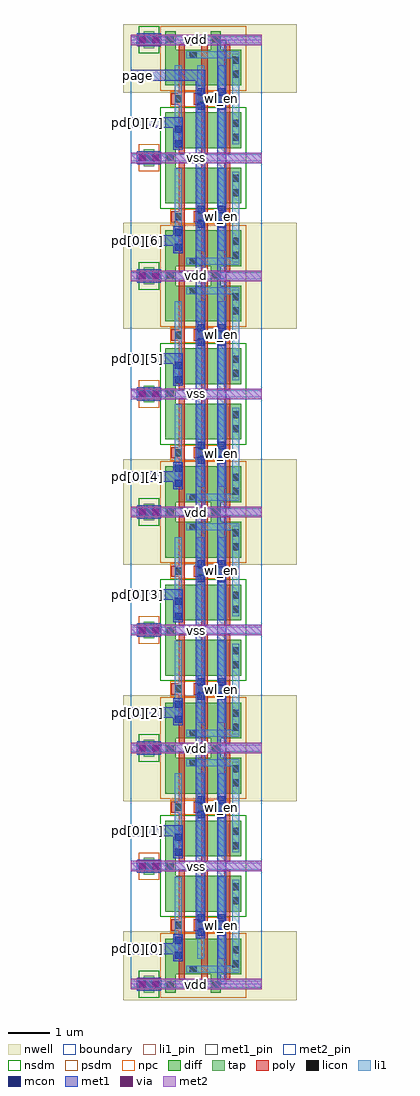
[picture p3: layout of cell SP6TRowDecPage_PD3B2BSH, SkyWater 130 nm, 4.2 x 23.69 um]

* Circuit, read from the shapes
.subckt SP6TRowDecPage_PD3B2BSH page pd[0][0] pd[0][1] pd[0][2] pd[0][3] pd[0][4] pd[0][5] pd[0][6] pd[0][7] vdd vss wl_en wl_n[0] wl_n[1] wl_n[2] wl_n[3] wl_n[4] wl_n[5] wl_n[6] wl_n[7]
XM1 n1 pd[0][0] vss vss sky130_fd_pr__nfet_01v8 w=0.87 l=0.15
XM2 n2 pd[0][1] vss vss sky130_fd_pr__nfet_01v8 w=0.87 l=0.15
XM3 n3 pd[0][2] vss vss sky130_fd_pr__nfet_01v8 w=0.87 l=0.15
XM4 n4 pd[0][3] vss vss sky130_fd_pr__nfet_01v8 w=0.87 l=0.15
XM5 n5 pd[0][4] vss vss sky130_fd_pr__nfet_01v8 w=0.87 l=0.15
XM6 n6 pd[0][5] vss vss sky130_fd_pr__nfet_01v8 w=0.87 l=0.15
XM7 n7 pd[0][6] vss vss sky130_fd_pr__nfet_01v8 w=0.87 l=0.15
XM8 n8 pd[0][7] vss vss sky130_fd_pr__nfet_01v8 w=0.87 l=0.15
XM9 n9 page n1 vss sky130_fd_pr__nfet_01v8 w=0.87 l=0.15
XM10 n10 page n2 vss sky130_fd_pr__nfet_01v8 w=0.87 l=0.15
XM11 n11 page n3 vss sky130_fd_pr__nfet_01v8 w=0.87 l=0.15
XM12 n12 page n4 vss sky130_fd_pr__nfet_01v8 w=0.87 l=0.15
XM13 n13 page n5 vss sky130_fd_pr__nfet_01v8 w=0.87 l=0.15
XM14 n14 page n6 vss sky130_fd_pr__nfet_01v8 w=0.87 l=0.15
XM15 n15 page n7 vss sky130_fd_pr__nfet_01v8 w=0.87 l=0.15
XM16 n16 page n8 vss sky130_fd_pr__nfet_01v8 w=0.87 l=0.15
XM17 wl_n[0] wl_en n9 vss sky130_fd_pr__nfet_01v8 w=0.87 l=0.15
XM18 wl_n[1] wl_en n10 vss sky130_fd_pr__nfet_01v8 w=0.87 l=0.15
XM19 wl_n[2] wl_en n11 vss sky130_fd_pr__nfet_01v8 w=0.87 l=0.15
XM20 wl_n[3] wl_en n12 vss sky130_fd_pr__nfet_01v8 w=0.87 l=0.15
XM21 wl_n[4] wl_en n13 vss sky130_fd_pr__nfet_01v8 w=0.87 l=0.15
XM22 wl_n[5] wl_en n14 vss sky130_fd_pr__nfet_01v8 w=0.87 l=0.15
XM23 wl_n[6] wl_en n15 vss sky130_fd_pr__nfet_01v8 w=0.87 l=0.15
XM24 wl_n[7] wl_en n16 vss sky130_fd_pr__nfet_01v8 w=0.87 l=0.15
XM25 wl_n[0] pd[0][0] vdd vdd sky130_fd_pr__pfet_01v8 w=0.87 l=0.15
XM26 wl_n[1] pd[0][1] vdd vdd sky130_fd_pr__pfet_01v8 w=0.87 l=0.15
XM27 wl_n[2] pd[0][2] vdd vdd sky130_fd_pr__pfet_01v8 w=0.87 l=0.15
XM28 wl_n[3] pd[0][3] vdd vdd sky130_fd_pr__pfet_01v8 w=0.87 l=0.15
XM29 wl_n[4] pd[0][4] vdd vdd sky130_fd_pr__pfet_01v8 w=0.87 l=0.15
XM30 wl_n[5] pd[0][5] vdd vdd sky130_fd_pr__pfet_01v8 w=0.87 l=0.15
XM31 wl_n[6] pd[0][6] vdd vdd sky130_fd_pr__pfet_01v8 w=0.87 l=0.15
XM32 wl_n[7] pd[0][7] vdd vdd sky130_fd_pr__pfet_01v8 w=0.87 l=0.15
XM33 vdd page wl_n[0] vdd sky130_fd_pr__pfet_01v8 w=0.87 l=0.15
XM34 vdd page wl_n[1] vdd sky130_fd_pr__pfet_01v8 w=0.87 l=0.15
XM35 vdd page wl_n[2] vdd sky130_fd_pr__pfet_01v8 w=0.87 l=0.15
XM36 vdd page wl_n[3] vdd sky130_fd_pr__pfet_01v8 w=0.87 l=0.15
XM37 vdd page wl_n[4] vdd sky130_fd_pr__pfet_01v8 w=0.87 l=0.15
XM38 vdd page wl_n[5] vdd sky130_fd_pr__pfet_01v8 w=0.87 l=0.15
XM39 vdd page wl_n[6] vdd sky130_fd_pr__pfet_01v8 w=0.87 l=0.15
XM40 vdd page wl_n[7] vdd sky130_fd_pr__pfet_01v8 w=0.87 l=0.15
XM41 wl_n[0] wl_en vdd vdd sky130_fd_pr__pfet_01v8 w=0.87 l=0.15
XM42 wl_n[1] wl_en vdd vdd sky130_fd_pr__pfet_01v8 w=0.87 l=0.15
XM43 wl_n[2] wl_en vdd vdd sky130_fd_pr__pfet_01v8 w=0.87 l=0.15
XM44 wl_n[3] wl_en vdd vdd sky130_fd_pr__pfet_01v8 w=0.87 l=0.15
XM45 wl_n[4] wl_en vdd vdd sky130_fd_pr__pfet_01v8 w=0.87 l=0.15
XM46 wl_n[5] wl_en vdd vdd sky130_fd_pr__pfet_01v8 w=0.87 l=0.15
XM47 wl_n[6] wl_en vdd vdd sky130_fd_pr__pfet_01v8 w=0.87 l=0.15
XM48 wl_n[7] wl_en vdd vdd sky130_fd_pr__pfet_01v8 w=0.87 l=0.15
.ends

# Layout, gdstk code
import gdstk
lib = gdstk.Library(unit=1e-6, precision=1e-09)
def R(c, l, rs):  # rectangles x0, y0, x1, y1
    for r in rs: c.add(gdstk.rectangle(r[:2], r[2:], *l))
def A(c, l, x, y, w, h, nx, ny, dx, dy):  # array of equal rectangles
    R(c, l, [(x+i*dx, y+j*dy, x+i*dx+w, y+j*dy+h) for i in range(nx) for j in range(ny)])
def P(c, l, *ps):  # polygons
    for p in ps: c.add(gdstk.Polygon(p, *l))
nwell = (64, 20)
diff = (65, 20)
tap = (65, 44)
poly = (66, 20)
licon = (66, 44)
li1_pin = (67, 16)
li1 = (67, 20)
mcon = (67, 44)
met1_pin = (68, 16)
met1 = (68, 20)
via = (68, 44)
met2_pin = (69, 16)
met2 = (69, 20)
nsdm = (93, 44)
psdm = (94, 20)
npc = (95, 20)
boundary = (235, 4)

sp6trowdecodernand3 = lib.new_cell('SP6TRowDecoderNand3')
R(sp6trowdecodernand3, nwell, [(-0.18,1.58,4.02,3.25)])
P(sp6trowdecodernand3, diff, [(0.835,1.76),(0.835,3.07),(1.085,3.07),(1.085,2.63),(1.935,2.63),(1.935,3.07),(2.185,3.07),(2.185,2.63),(2.675,2.63),(2.675,1.76)],
  [(0.835,-0.205),(0.835,1.105),(2.675,1.105),(2.675,0.235),(1.085,0.235),(1.085,-0.205)])
R(sp6trowdecodernand3, tap, [(0.315,-0.205,0.565,0.205), (0.315,2.66,0.565,3.07)])
P(sp6trowdecodernand3, poly, [(2.26,0.105),(2.26,1.265),(2.07,1.265),(2.07,1.595),(2.26,1.595),(2.26,2.76),(2.41,2.76),(2.41,0.105)],
  [(1.16,0.105),(1.16,1.295),(0.98,1.295),(0.98,1.565),(1.16,1.565),(1.16,2.76),(1.31,2.76),(1.31,0.105)],
  [(1.71,0.105),(1.71,1.295),(1.53,1.295),(1.53,1.565),(1.71,1.565),(1.71,2.76),(1.86,2.76),(1.86,0.105)])
R(sp6trowdecodernand3, licon, [(0.355,-0.085,0.525,0.085), (0.875,-0.085,1.045,0.085), (2.465,0.415,2.635,0.585), (2.465,0.755,2.635,0.925), (1.06,1.345,1.23,1.515), (1.61,1.345,1.78,1.515), (2.12,1.345,2.29,1.515), (2.465,1.94,2.635,2.11), (2.465,2.28,2.635,2.45), (1.425,2.42,1.595,2.59), (0.355,2.78,0.525,2.95), (0.875,2.78,1.045,2.95), (1.975,2.78,2.145,2.95)])
R(sp6trowdecodernand3, li1_pin, [(1.06,0.255,1.23,2.25), (2.465,0.335,2.635,2.53)])
R(sp6trowdecodernand3, li1, [(0,-0.085,3.18,0.085), (1.06,0.255,1.23,2.25), (1.61,0.255,1.78,2.25), (2.12,0.255,2.29,2.25), (0,2.78,3.18,2.95)])
P(sp6trowdecodernand3, li1, [(2.465,0.335),(2.465,2.42),(1.345,2.42),(1.345,2.59),(2.635,2.59),(2.635,0.335)])
R(sp6trowdecodernand3, mcon, [(0.175,-0.085,0.345,0.085), (0.535,-0.085,0.705,0.085), (1.61,1.165,1.78,1.335), (2.12,1.165,2.29,1.335), (1.61,1.525,1.78,1.695), (2.12,1.525,2.29,1.695), (0.175,2.78,0.345,2.95), (0.535,2.78,0.705,2.95)])
R(sp6trowdecodernand3, met1_pin, [(2.09,0,2.32,2.865), (1.58,1.105,1.81,1.755)])
R(sp6trowdecodernand3, met1, [(2.09,0,2.32,2.865), (1.58,1.105,1.81,1.755)])
P(sp6trowdecodernand3, met1, [(0.15,-0.16),(0.15,-0.145),(0.145,-0.145),(0.145,0.145),(0.15,0.145),(0.15,0.16),(0.73,0.16),(0.73,0.145),(0.735,0.145),(0.735,-0.145),(0.73,-0.145),(0.73,-0.16)],
  [(0.15,2.705),(0.15,2.72),(0.145,2.72),(0.145,3.01),(0.15,3.01),(0.15,3.025),(0.73,3.025),(0.73,3.01),(0.735,3.01),(0.735,2.72),(0.73,2.72),(0.73,2.705)])
R(sp6trowdecodernand3, via, [(0.205,-0.075,0.355,0.075), (0.525,-0.075,0.675,0.075), (0.205,2.79,0.355,2.94), (0.525,2.79,0.675,2.94)])
R(sp6trowdecodernand3, met2_pin, [(0,-0.13,3.18,0.13), (0,2.735,3.18,2.995)])
R(sp6trowdecodernand3, met2, [(0,-0.13,3.18,0.13), (0,2.735,3.18,2.995)])
R(sp6trowdecodernand3, nsdm, [(0.71,-0.33,2.8,1.23), (0.19,2.535,0.69,3.195)])
R(sp6trowdecodernand3, psdm, [(0.19,-0.33,0.69,0.33), (0.71,1.635,2.8,3.195)])
R(sp6trowdecodernand3, npc, [(0.96,1.245,2.39,1.615)])
R(sp6trowdecodernand3, boundary, [(0,0,3.18,2.865)])
sp6trowdecodernand3.add(gdstk.Label('vdd', (1.59,2.865), layer=69, texttype=16))
sp6trowdecodernand3.add(gdstk.Label('vss', (1.59,0), layer=69, texttype=16))
sp6trowdecodernand3.add(gdstk.Label('wl_en', (2.205,1.432), layer=68, texttype=16))
sp6trowdecodernand3.add(gdstk.Label('page', (1.695,1.43), layer=68, texttype=16))
sp6trowdecodernand3.add(gdstk.Label('wl_n', (2.55,1.432), layer=67, texttype=16))
sp6trowdecodernand3.add(gdstk.Label('pd[0]', (1.145,1.253), layer=67, texttype=16))

sp6trowdecpage_pd3b2bsh = lib.new_cell('SP6TRowDecPage_PD3B2BSH')
A(sp6trowdecpage_pd3b2bsh, li1_pin, 2.465, 0.335, 0.17, 2.195, 1, 8, 0, 2.865)
A(sp6trowdecpage_pd3b2bsh, li1, 2.465, 0.335, 0.17, 2.195, 1, 8, 0, 2.865)
R(sp6trowdecpage_pd3b2bsh, li1, [(1.06,0.615,1.23,1.145), (1.06,3.12,1.23,3.65), (1.06,6.345,1.23,6.875), (1.06,8.85,1.23,9.38), (1.06,12.075,1.23,12.605), (1.06,14.58,1.23,15.11), (1.06,17.805,1.23,18.335), (1.06,20.31,1.23,20.84)])
R(sp6trowdecpage_pd3b2bsh, mcon, [(1.06,0.615,1.23,0.785), (1.06,0.975,1.23,1.145), (1.06,3.12,1.23,3.29), (1.06,3.48,1.23,3.65), (1.06,6.345,1.23,6.515), (1.06,6.705,1.23,6.875), (1.06,8.85,1.23,9.02), (1.06,9.21,1.23,9.38), (1.06,12.075,1.23,12.245), (1.06,12.435,1.23,12.605), (1.06,14.58,1.23,14.75), (1.06,14.94,1.23,15.11), (1.06,17.805,1.23,17.975), (1.06,18.165,1.23,18.335), (1.06,20.31,1.23,20.48), (1.06,20.67,1.23,20.84)])
A(sp6trowdecpage_pd3b2bsh, met1_pin, 0, 0.73, 0.32, 0.26, 1, 8, 0, 2.865)
R(sp6trowdecpage_pd3b2bsh, met1_pin, [(2.09,0,2.32,22.92), (0,21.93,0.32,22.19)])
R(sp6trowdecpage_pd3b2bsh, met1, [(2.09,0,2.32,22.92)])
P(sp6trowdecpage_pd3b2bsh, met1, [(1.58,1.435),(1.58,21.93),(0,21.93),(0,22.19),(1.81,22.19),(1.81,1.435)],
  [(1.03,3.06),(1.03,3.595),(0,3.595),(0,3.855),(1.26,3.855),(1.26,3.06)],
  [(1.03,8.79),(1.03,9.325),(0,9.325),(0,9.585),(1.26,9.585),(1.26,8.79)],
  [(1.03,14.52),(1.03,15.055),(0,15.055),(0,15.315),(1.26,15.315),(1.26,14.52)],
  [(1.03,20.25),(1.03,20.785),(0,20.785),(0,21.045),(1.26,21.045),(1.26,20.25)],
  [(1.03,0.555),(1.03,0.73),(0,0.73),(0,0.99),(1.03,0.99),(1.03,1.205),(1.26,1.205),(1.26,0.555)],
  [(1.03,6.285),(1.03,6.46),(0,6.46),(0,6.72),(1.03,6.72),(1.03,6.935),(1.26,6.935),(1.26,6.285)],
  [(1.03,12.015),(1.03,12.19),(0,12.19),(0,12.45),(1.03,12.45),(1.03,12.665),(1.26,12.665),(1.26,12.015)],
  [(1.03,17.745),(1.03,17.92),(0,17.92),(0,18.18),(1.03,18.18),(1.03,18.395),(1.26,18.395),(1.26,17.745)])
A(sp6trowdecpage_pd3b2bsh, met2_pin, 0, -0.13, 3.18, 0.26, 1, 9, 0, 2.865)
A(sp6trowdecpage_pd3b2bsh, met2, 0, -0.13, 3.18, 0.26, 1, 9, 0, 2.865)
R(sp6trowdecpage_pd3b2bsh, boundary, [(0,0,3.18,22.92)])
sp6trowdecpage_pd3b2bsh.add(gdstk.Reference(sp6trowdecodernand3, (0,2.865)))
sp6trowdecpage_pd3b2bsh.add(gdstk.Reference(sp6trowdecodernand3, (0,8.595)))
sp6trowdecpage_pd3b2bsh.add(gdstk.Reference(sp6trowdecodernand3, (0,14.325)))
sp6trowdecpage_pd3b2bsh.add(gdstk.Reference(sp6trowdecodernand3, (0,20.055)))
sp6trowdecpage_pd3b2bsh.add(gdstk.Reference(sp6trowdecodernand3, (0,2.865), x_reflection=True))
sp6trowdecpage_pd3b2bsh.add(gdstk.Reference(sp6trowdecodernand3, (0,8.595), x_reflection=True))
sp6trowdecpage_pd3b2bsh.add(gdstk.Reference(sp6trowdecodernand3, (0,14.325), x_reflection=True))
sp6trowdecpage_pd3b2bsh.add(gdstk.Reference(sp6trowdecodernand3, (0,20.055), x_reflection=True))
sp6trowdecpage_pd3b2bsh.add(gdstk.Label('vss', (1.59,2.865), layer=69, texttype=16))
sp6trowdecpage_pd3b2bsh.add(gdstk.Label('vss', (1.59,8.595), layer=69, texttype=16))
sp6trowdecpage_pd3b2bsh.add(gdstk.Label('vss', (1.59,14.325), layer=69, texttype=16))
sp6trowdecpage_pd3b2bsh.add(gdstk.Label('vss', (1.59,20.055), layer=69, texttype=16))
sp6trowdecpage_pd3b2bsh.add(gdstk.Label('vdd', (1.59,0), layer=69, texttype=16))
sp6trowdecpage_pd3b2bsh.add(gdstk.Label('vdd', (1.59,5.73), layer=69, texttype=16))
sp6trowdecpage_pd3b2bsh.add(gdstk.Label('vdd', (1.59,11.46), layer=69, texttype=16))
sp6trowdecpage_pd3b2bsh.add(gdstk.Label('vdd', (1.59,17.19), layer=69, texttype=16))
sp6trowdecpage_pd3b2bsh.add(gdstk.Label('vdd', (1.59,22.92), layer=69, texttype=16))
sp6trowdecpage_pd3b2bsh.add(gdstk.Label('pd[0][6]', (0.16,18.05), layer=68, texttype=16))
sp6trowdecpage_pd3b2bsh.add(gdstk.Label('pd[0][5]', (0.16,15.185), layer=68, texttype=16))
sp6trowdecpage_pd3b2bsh.add(gdstk.Label('pd[0][4]', (0.16,12.32), layer=68, texttype=16))
sp6trowdecpage_pd3b2bsh.add(gdstk.Label('page', (0.16,22.06), layer=68, texttype=16))
sp6trowdecpage_pd3b2bsh.add(gdstk.Label('pd[0][3]', (0.16,9.455), layer=68, texttype=16))
sp6trowdecpage_pd3b2bsh.add(gdstk.Label('pd[0][7]', (0.16,20.915), layer=68, texttype=16))
sp6trowdecpage_pd3b2bsh.add(gdstk.Label('pd[0][2]', (0.16,6.59), layer=68, texttype=16))
sp6trowdecpage_pd3b2bsh.add(gdstk.Label('wl_en', (2.205,1.432), layer=68, texttype=16))
sp6trowdecpage_pd3b2bsh.add(gdstk.Label('wl_en', (2.205,4.297), layer=68, texttype=16))
sp6trowdecpage_pd3b2bsh.add(gdstk.Label('wl_en', (2.205,7.162), layer=68, texttype=16))
sp6trowdecpage_pd3b2bsh.add(gdstk.Label('wl_en', (2.205,10.028), layer=68, texttype=16))
sp6trowdecpage_pd3b2bsh.add(gdstk.Label('wl_en', (2.205,12.892), layer=68, texttype=16))
sp6trowdecpage_pd3b2bsh.add(gdstk.Label('wl_en', (2.205,15.757), layer=68, texttype=16))
sp6trowdecpage_pd3b2bsh.add(gdstk.Label('wl_en', (2.205,18.623), layer=68, texttype=16))
sp6trowdecpage_pd3b2bsh.add(gdstk.Label('wl_en', (2.205,21.487), layer=68, texttype=16))
sp6trowdecpage_pd3b2bsh.add(gdstk.Label('pd[0][1]', (0.16,3.725), layer=68, texttype=16))
sp6trowdecpage_pd3b2bsh.add(gdstk.Label('pd[0][0]', (0.16,0.86), layer=68, texttype=16))
sp6trowdecpage_pd3b2bsh.add(gdstk.Label('wl_n[7]', (2.55,21.488), layer=67, texttype=16))
sp6trowdecpage_pd3b2bsh.add(gdstk.Label('wl_n[6]', (2.55,18.623), layer=67, texttype=16))
sp6trowdecpage_pd3b2bsh.add(gdstk.Label('wl_n[5]', (2.55,15.758), layer=67, texttype=16))
sp6trowdecpage_pd3b2bsh.add(gdstk.Label('wl_n[3]', (2.55,10.028), layer=67, texttype=16))
sp6trowdecpage_pd3b2bsh.add(gdstk.Label('wl_n[2]', (2.55,7.162), layer=67, texttype=16))
sp6trowdecpage_pd3b2bsh.add(gdstk.Label('wl_n[1]', (2.55,4.297), layer=67, texttype=16))
sp6trowdecpage_pd3b2bsh.add(gdstk.Label('wl_n[4]', (2.55,12.892), layer=67, texttype=16))
sp6trowdecpage_pd3b2bsh.add(gdstk.Label('wl_n[0]', (2.55,1.432), layer=67, texttype=16))

lib.write_gds('SP6TRowDecPage_PD3B2BSH.gds')
